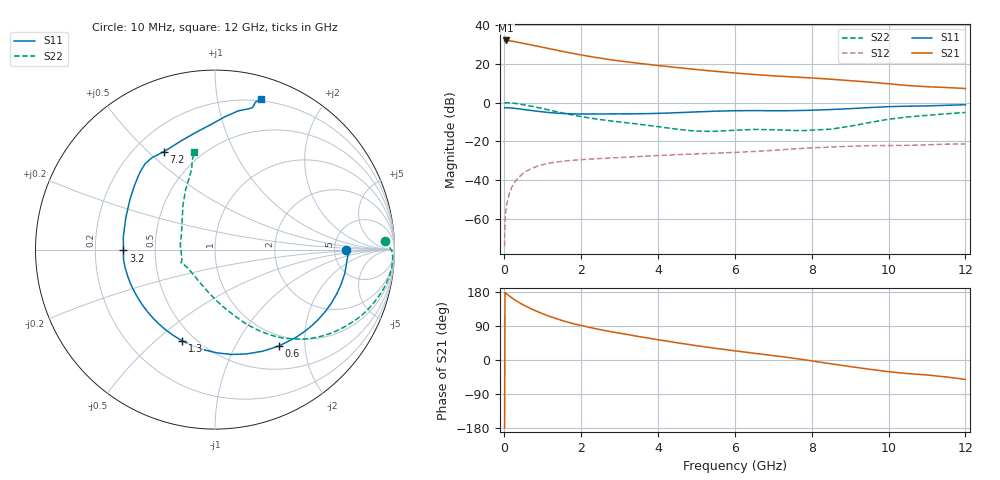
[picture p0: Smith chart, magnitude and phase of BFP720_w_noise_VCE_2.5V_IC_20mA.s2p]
! Infineon Technologies  Discrete & RF Semiconductors
! BFP720
! VCE =  2.5 V,  IC =  20 mA
! Common Emitter S-Parameters:  Aug 2012
# GHz  S  MA  R  50
!  f  S11  S21  S12  S22
! GHz  MAG  ANG  MAG  ANG  MAG  ANG  MAG  ANG
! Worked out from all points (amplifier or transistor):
!   105 points, 10 MHz to 12 GHz, reference 50 ohm
!   highest |S21| = 32.0 dB at 50 MHz (marker M1)
!   |S21| within 3 dB of that: start of sweep to 872.5 MHz
!   unconditionally stable (mu >= 1): start of sweep to 14.4 MHz; 4.401 GHz to 10.82 GHz
!   at 300 MHz: K = 0.15, MSG = 35.8 dB, |S12| = -40.4 dB
!   at 3.6 GHz: K = 0.90, MSG = 23.8 dB, |S12| = -27.7 dB
!   at 12 GHz: K = 0.77, MSG = 14.3 dB, |S12| = -21.3 dB
!   lowest NFmin = 0.77 dB at 450 MHz
!   S11 on the Smith chart (normalised r, x): 10 MHz: 6.40, -0.03; 600 MHz: 0.83, -1.53; 1.3 GHz: 0.43, -0.62; 3.2 GHz: 0.32, -0.00; 7.2 GHz: 0.32, +0.56; 12 GHz: 0.18, +1.33
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0.01  0.7299 -0.1  39.27 -179.9  0.0002 19.0  0.9479 3.0
0.02  0.7421 -1.9  39.57 177.9  0.0008 102.0  0.9844 -0.3
0.05  0.7375 -5.0  39.75 175.6  0.0019 88.6  0.991 -2.3
0.15  0.7287 -15.3  38.88 167.6  0.005 82.0  0.983 -8.5
0.25  0.7133 -25.0  37.47 160.2  0.0082 78.1  0.9593 -14.1
0.3  0.7039 -29.7  36.63 157.0  0.0096 75.4  0.9441 -16.7
0.45  0.6743 -43.3  34.21 148.0  0.0139 69.5  0.8966 -24.0
0.6  0.6445 -56.5  31.97 140.1  0.0176 63.8  0.8433 -30.5
0.9  0.5914 -81.0  27.78 126.3  0.0236 54.5  0.736 -42.0
1.1  0.5621 -96.0  25.27 118.1  0.0265 49.3  0.666 -48.4
1.3  0.5403 -109.6  23 111.0  0.0289 45.1  0.6024 -54.1
1.7  0.5148 -132.1  19.13 98.6  0.0321 39.0  0.4957 -63.0
2.1  0.5067 -148.4  16.18 88.8  0.0343 35.1  0.4196 -69.8
2.6  0.5087 -163.8  13.45 78.1  0.0367 32.1  0.3541 -77.1
3.2  0.5102 -179.5  11.16 67.4  0.0394 29.9  0.3005 -85.3
4.1  0.5305 158.2  8.79 51.9  0.0436 27.2  0.2324 -101.3
5  0.5751 141.0  7.098 37.7  0.0476 24.6  0.185 -129.4
6.1  0.617 128.4  5.671 22.9  0.0526 22.3  0.1955 -156.0
7.2  0.6167 117.7  4.755 9.1  0.0606 20.3  0.1964 -161.2
8.5  0.6617 99.2  3.988 -10.0  0.0716 12.1  0.2062 154.9
10.5  0.8066 76.5  2.747 -35.8  0.0791 -1.7  0.4263 109.6
12  0.8773 73.2  2.297 -51.2  0.0859 -10.9  0.5564 102.0
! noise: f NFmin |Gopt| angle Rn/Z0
0.45  0.77  0.18  1  0.29
1.8  0.82  0.18  8  0.14
2.4  0.88  0.18  11  0.54
5.5  1.11  0.17  -64  0.18
10  1.26  0.48  -71  0.33
